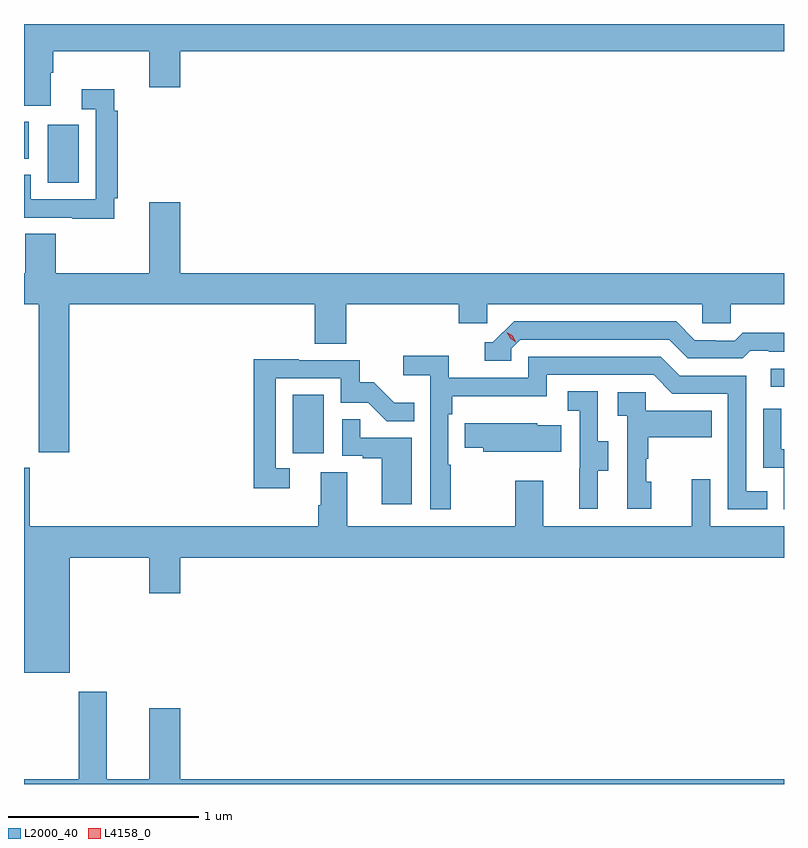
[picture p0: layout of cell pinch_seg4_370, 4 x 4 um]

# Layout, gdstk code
import gdstk
lib = gdstk.Library(unit=1e-6, precision=1e-09)
def R(c, l, rs):  # rectangles x0, y0, x1, y1
    for r in rs: c.add(gdstk.rectangle(r[:2], r[2:], *l))
def P(c, l, *ps):  # polygons
    for p in ps: c.add(gdstk.Polygon(p, *l))
L2000_40 = (2000, 40)
L4158_0 = (4158, 0)

pinch_seg4_370 = lib.new_cell('pinch_seg4_370')
R(pinch_seg4_370, L2000_40, [(956.972,769.398,957.136,769.705), (959.487,769.746,959.558,769.842), (955.682,770.82,955.846,771.127), (955.558,770.947,955.584,771.141)])
P(pinch_seg4_370, L2000_40, [(955.699,771.4),(955.712,771.4),(955.712,771.512),(956.216,771.512),(956.216,771.324),(956.38,771.324),(956.38,771.512),(959.558,771.512),(959.558,771.656),(955.558,771.656),(955.558,771.512),(955.559,771.512),(955.559,771.226),(955.699,771.226)],
  [(956.033,770.74),(956.051,770.74),(956.051,771.2),(956.033,771.2),(956.033,771.313),(955.863,771.313),(955.863,771.207),(955.935,771.207),(955.935,770.733),(955.593,770.733),(955.593,770.862),(955.558,770.862),(955.558,770.637),(955.813,770.637),(955.813,770.632),(956.033,770.632)],
  [(955.796,770.18),(957.089,770.18),(957.089,769.972),(957.254,769.972),(957.254,770.18),(957.845,770.18),(957.845,770.082),(957.996,770.082),(957.996,770.18),(959.127,770.18),(959.127,770.082),(959.277,770.082),(959.277,770.18),(959.558,770.18),(959.558,770.344),(956.38,770.344),(956.38,770.719),(956.216,770.719),(956.216,770.344),(955.725,770.344),(955.725,770.552),(955.565,770.552),(955.565,770.344),(955.558,770.344),(955.558,770.18),(955.636,770.18),(955.636,769.401),(955.796,769.401)],
  [(958.122,769.947),(958.17,769.995),(958.953,769.995),(959.052,769.896),(959.341,769.896),(959.38,769.935),(959.479,769.935),(959.479,769.932),(959.558,769.932),(959.558,770.032),(959.341,770.032),(959.299,769.989),(959.196,769.989),(959.196,769.992),(959.089,769.992),(958.99,770.091),(958.137,770.091),(958.026,769.98),(957.983,769.98),(957.983,769.884),(958.122,769.884)],
  [(957.805,769.337),(957.792,769.337),(957.792,769.601),(957.811,769.601),(957.811,769.697),(958.308,769.697),(958.308,769.809),(958.872,769.809),(958.971,769.71),(959.262,769.71),(959.262,769.101),(959.471,769.101),(959.471,769.197),(959.358,769.197),(959.358,769.806),(959.008,769.806),(958.909,769.905),(958.212,769.905),(958.212,769.794),(957.794,769.794),(957.794,769.91),(957.555,769.91),(957.555,769.808),(957.696,769.808),(957.696,769.101),(957.805,769.101)],
  [(956.956,769.317),(956.883,769.317),(956.883,769.791),(957.225,769.791),(957.225,769.662),(957.369,769.662),(957.467,769.564),(957.611,769.564),(957.611,769.663),(957.507,769.663),(957.4,769.77),(957.324,769.77),(957.324,769.887),(957.005,769.887),(957.005,769.892),(956.767,769.892),(956.767,769.212),(956.956,769.212)],
  [(958.579,769.306),(958.633,769.306),(958.633,769.461),(958.578,769.461),(958.578,769.724),(958.419,769.724),(958.419,769.621),(958.482,769.621),(958.482,769.317),(958.481,769.317),(958.481,769.104),(958.579,769.104)],
  [(958.858,769.248),(958.833,769.248),(958.833,769.367),(958.843,769.367),(958.843,769.481),(959.177,769.481),(959.177,769.621),(958.83,769.621),(958.83,769.719),(958.683,769.719),(958.683,769.595),(958.734,769.595),(958.734,769.104),(958.858,769.104)],
  [(959.558,769.418),(959.544,769.418),(959.544,769.63),(959.448,769.63),(959.448,769.32),(959.556,769.32),(959.556,769.101),(959.558,769.101)],
  [(957.598,769.479),(957.329,769.479),(957.329,769.577),(957.234,769.577),(957.234,769.383),(957.341,769.383),(957.341,769.371),(957.44,769.371),(957.44,769.128),(957.598,769.128)],
  [(958.385,769.543),(958.26,769.543),(958.26,769.555),(957.877,769.555),(957.877,769.426),(957.975,769.426),(957.975,769.406),(958.385,769.406)],
  [(955.798,768.848),(956.216,768.848),(956.216,768.66),(956.38,768.66),(956.38,768.848),(959.558,768.848),(959.558,769.012),(959.169,769.012),(959.169,769.261),(959.072,769.261),(959.072,769.012),(958.291,769.012),(958.291,769.252),(958.144,769.252),(958.144,769.012),(957.259,769.012),(957.259,769.298),(957.119,769.298),(957.119,769.124),(957.107,769.124),(957.107,769.012),(955.588,769.012),(955.588,769.321),(955.558,769.321),(955.558,768.242),(955.798,768.242)],
  [(959.558,767.68),(956.38,767.68),(956.38,768.055),(956.216,768.055),(956.216,767.68),(955.993,767.68),(955.993,768.142),(955.846,768.142),(955.846,767.68),(955.558,767.68),(955.558,767.656),(959.558,767.656)])
P(pinch_seg4_370, L4158_0, [(958.147,769.982),(958.116,770.001),(958.1,770.034),(958.1,770.034),(958.1,770.034),(958.131,770.015),(958.147,769.982),(958.147,769.982)])

lib.write_gds('pinch_seg4_370.gds')
